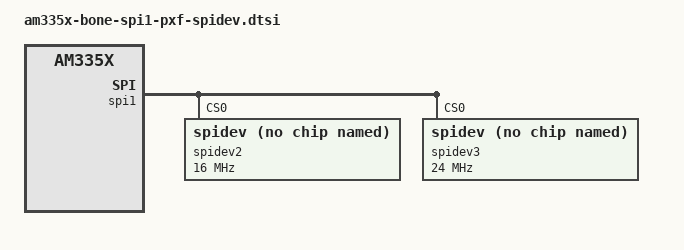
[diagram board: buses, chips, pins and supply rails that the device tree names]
/*
 * Copyright (C) 2012 Texas Instruments Incorporated - http://www.ti.com/
 *
 * This program is free software; you can redistribute it and/or modify
 * it under the terms of the GNU General Public License version 2 as
 * published by the Free Software Foundation.
 */

&ocp {
	P9_31_pinmux {
		status = "disabled";
	};
	P9_29_pinmux {
		status = "disabled";
	};
	P9_30_pinmux {
		status = "disabled";
	};
	P9_42_pinmux {
		status = "disabled";
	};
	P9_28_pinmux {
		status = "disabled";
	};
	P9_23_pinmux {
		status = "disabled";
	};
	P8_12_pinmux {
		status = "disabled";
	};
};

&spi1 {

	#address-cells = <1>;
	#size-cells = <0>;
	status = "okay";
	pinctrl-names = "default";
	pinctrl-0 = <&spi1_pxf_pins>;
	ti,pindir-d0-out-d1-in = <1>;

	spidev2: spi@0 {
		compatible = "spidev";
		reg = <0>;
		spi-max-frequency = <16000000>;
		spi-cpha;
	};

	spidev3: spi@1 {
		spi-max-frequency = <24000000>;
                reg = <0>;
                compatible = "linux,spidev";
	};
};
